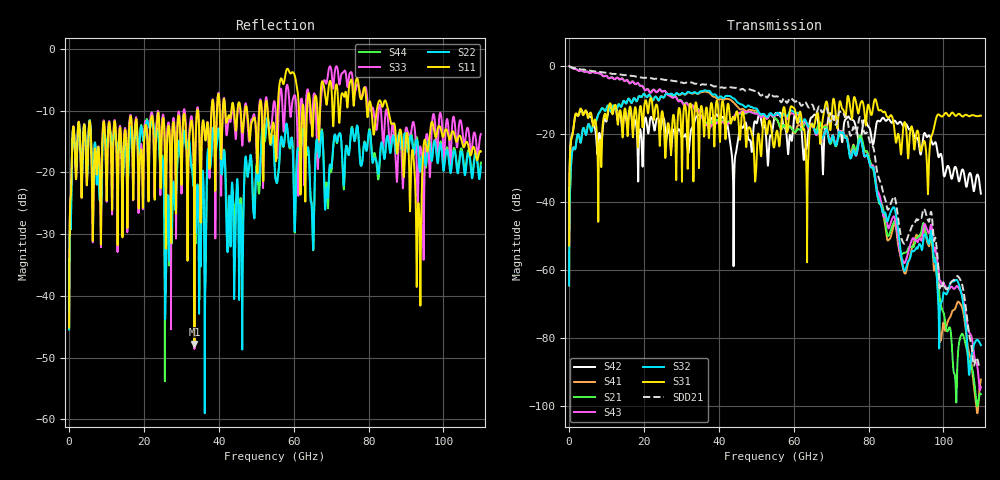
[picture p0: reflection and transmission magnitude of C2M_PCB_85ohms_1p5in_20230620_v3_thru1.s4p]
! Info: Touchstone file created by Circ.  Input file=C2M_PCB_85ohms_1p5in_20230620_v3.circ
# Hz S RI R 50
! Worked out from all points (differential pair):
!   11000 points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, 10 MHz to 110 GHz, reference 50 ohm
!   strongest paths, dB at 10 MHz, 27.51 GHz, 55.01 GHz, 82.51 GHz, 110 GHz:
!     S31: -52.8, -18.2, -22.4, -12.6, -14.6
!     S32: -64.6, -8.2, -14.3, -38.8, -82.2
!     S43: 0.0, -9.3, -14.6, -37.1, -94.5
!     S21: 0.0, -9.0, -15.3, -39.1, -96.6
!     S41: -64.6, -8.4, -15.5, -37.8, -92.3
!     S42: -52.7, -21.4, -14.2, -16.1, -37.6
!   taken as a pair (ports 3,1 in; 4,2 out), SDD21 dB: 0.0, -4.3, -9.0, -32.2, -88.5
!   lowest |S11| = -47.8 dB at 33.48 GHz (marker M1), VSWR 1.01, Z = 49.6 + j0.199 ohm
!   |S11| at or under -10 dB: start of sweep to 34.22 GHz; 34.43 GHz to 38.04 GHz (3.611 GHz wide, 9.97 % of centre); 85.28 GHz to end of sweep (the widest 3 of 19)
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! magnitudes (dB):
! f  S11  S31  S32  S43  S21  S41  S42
! 10 MHz  -45.2  -52.8  -64.6  0.0  0.0  -64.6  -52.7
! 1.87 GHz  -21.1  -14.0  -22.9  -0.9  -0.9  -22.8  -14.1
! 8.48 GHz  -31.3  -26.0  -13.0  -2.3  -2.3  -13.0  -23.0
! 33.48 GHz  -47.8  -14.8  -7.7  -12.6  -12.7  -7.9  -16.5
! 77.88 GHz  -8.1  -10.9  -21.6  -21.7  -20.5  -20.6  -21.0
! 93.36 GHz  -25.0  -20.2  -52.9  -51.2  -50.2  -50.1  -22.5
! 110 GHz  -16.6  -14.6  -82.2  -94.5  -96.6  -92.3  -37.6
